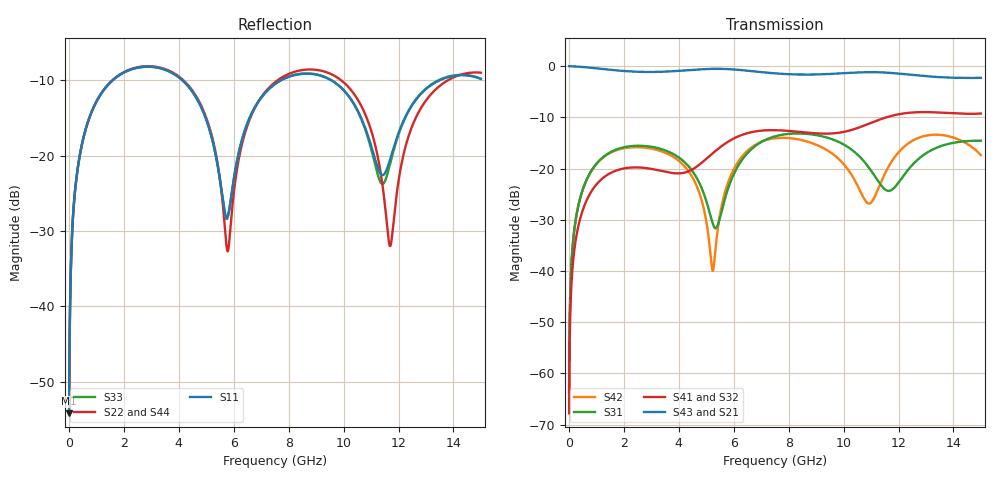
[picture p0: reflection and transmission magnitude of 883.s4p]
! Created with skrf 1.8.0 (http://scikit-rf.org).
# GHz S RI R 50.0
!freq ReS11 ImS11 ReS12 ImS12 ReS13 ImS13
! ReS14 ImS14
! ReS21 ImS21 ReS22 ImS22 ReS23 ImS23
! ReS24 ImS24
! ReS31 ImS31 ReS32 ImS32 ReS33 ImS33
! ReS34 ImS34
! ReS41 ImS41 ReS42 ImS42 ReS43 ImS43
! ReS44 ImS44
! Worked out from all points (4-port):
!   2499 points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, 5 MHz to 15 GHz, reference 50 ohm
!   strongest paths, dB at 5 MHz, 3.476 GHz, 7.19 GHz, 11.1 GHz, 15 GHz:
!     S43: 0.0, -1.1, -1.3, -1.2, -2.3
!     S21: 0.0, -1.1, -1.3, -1.2, -2.3
!     S41: -67.8, -20.6, -12.5, -10.9, -9.3
!     S32: -67.8, -20.7, -12.6, -10.9, -9.3
!     S31: -63.7, -16.4, -14.3, -21.2, -14.6
!     S42: -63.7, -16.8, -14.4, -25.9, -17.4
!   lowest |S11| = -54.2 dB at 5 MHz (marker M1), VSWR 1.00, Z = 50.2 + j0.118 ohm
!   |S11| at or under -10 dB: start of sweep to 1.592 GHz; 4.128 GHz to 7.732 GHz (3.604 GHz wide, 60.8 % of centre); 9.547 GHz to 13.5 GHz (3.955 GHz wide, 34.3 % of centre)
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0.005  0.00156 0.00118  0.9984 -0.00303  7.9e-05 0.000648  -7.65e-05 -0.000401
       0.9984 -0.00303  0.00156 0.00118  -7.65e-05 -0.000401  7.89e-05 0.000648
       7.9e-05 0.000648  -7.65e-05 -0.000401  0.00156 0.00118  0.9984 -0.00303
       -7.65e-05 -0.000401  7.89e-05 0.000648  0.9984 -0.00303  0.00156 0.00118
0.3126303  0.022 0.0778  0.9699 -0.1888  0.0107 0.0386  -0.00867 -0.0237
           0.9699 -0.1888  0.0221 0.0778  -0.00866 -0.0237  0.0102 0.0388
           0.0107 0.0386  -0.00866 -0.0237  0.022 0.0778  0.9699 -0.1888
           -0.00867 -0.0237  0.0102 0.0388  0.9699 -0.1888  0.0221 0.0778
1.569404  0.2551 0.1822  0.5765 -0.7127  0.1327 0.0638  -0.0915 -0.0106
          0.5765 -0.7127  0.2579 0.1805  -0.0912 -0.0108  0.1249 0.0736
          0.1327 0.0638  -0.0912 -0.0108  0.2552 0.1821  0.5765 -0.7127
          -0.0915 -0.0106  0.1249 0.0736  0.5765 -0.7127  0.2577 0.1806
5.608587  0.0398 -0.0308  -0.9266 -0.1499  -0.0196 0.0386  -0.0216 0.1679
          -0.9266 -0.1499  0.0244 -0.0391  -0.0262 0.1673  0.0106 0.0484
          -0.0196 0.0386  -0.0262 0.1673  0.0389 -0.03  -0.9267 -0.1499
          -0.0216 0.1679  0.0106 0.0484  -0.9267 -0.1499  0.0249 -0.0384
9.053772  0.3399 -0.0448  0.0374 0.8282  0.1574 -0.1405  0.2024 -0.0869
          0.0374 0.8282  0.363 -0.069  0.2025 -0.076  0.163 -0.0431
          0.1574 -0.1405  0.2025 -0.076  0.3407 -0.0496  0.0367 0.8287
          0.2024 -0.0869  0.163 -0.0431  0.0367 0.8287  0.3604 -0.0646
11.69237  0.0816 0.047  0.8549 0.0778  -0.0438 0.0423  0.0101 -0.3237
          0.8549 0.0778  0.025 -0.0023  0.0301 -0.3227  0.0782 0.0783
          -0.0438 0.0423  0.0301 -0.3227  0.0725 0.0498  0.8551 0.0787
          0.0101 -0.3237  0.0782 0.0783  0.8551 0.0787  0.0306 -0.000938
15  0.3174 -0.0578  -0.0256 -0.7669  0.0611 -0.1766  -0.3372 0.0703
    -0.0256 -0.7669  0.3534 -0.0289  -0.3388 0.0426  0.0956 -0.0958
    0.0611 -0.1766  -0.3388 0.0426  0.3173 -0.0603  -0.0229 -0.7679
    -0.3372 0.0703  0.0956 -0.0958  -0.0229 -0.7679  0.3485 -0.0259
